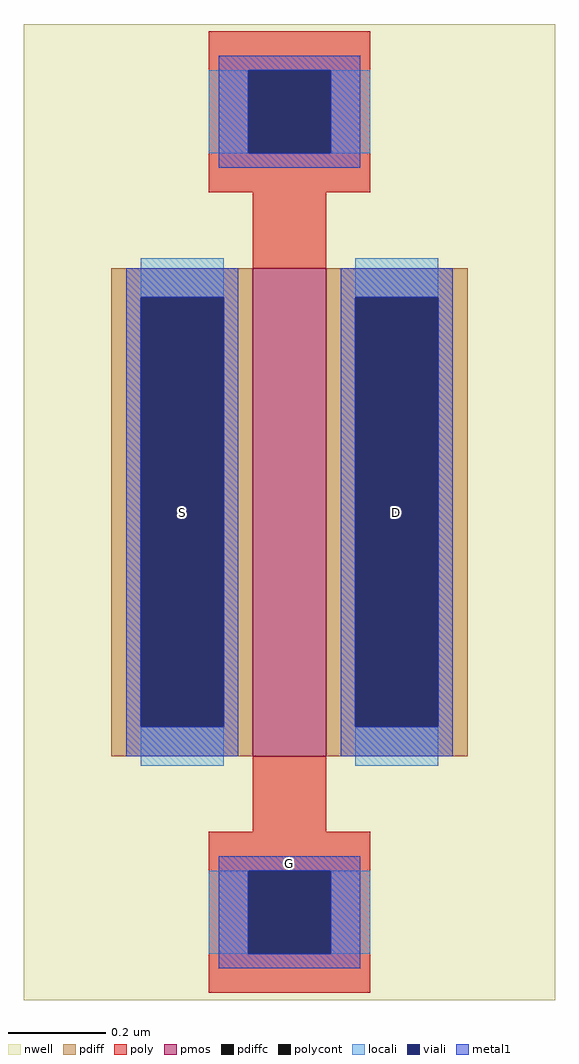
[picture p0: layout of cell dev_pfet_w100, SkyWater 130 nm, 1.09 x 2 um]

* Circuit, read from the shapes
.subckt dev_pfet_w100 G S D
XM1 D G S n1 sky130_fd_pr__pfet_01v8 w=1 l=0.15
.ends

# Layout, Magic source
magic
tech sky130B
magscale 1 2
<< nwell >>
rect -109 -200 109 200
<< pmos >>
rect -15 -100 15 100
<< pdiff >>
rect -73 88 -15 100
rect -73 -88 -61 88
rect -27 -88 -15 88
rect -73 -100 -15 -88
rect 15 88 73 100
rect 15 -88 27 88
rect 61 -88 73 88
rect 15 -100 73 -88
<< pdiffc >>
rect -61 -88 -27 88
rect 27 -88 61 88
<< poly >>
rect -33 181 33 197
rect -33 147 -17 181
rect 17 147 33 181
rect -33 131 33 147
rect -15 100 15 131
rect -15 -131 15 -100
rect -33 -147 33 -131
rect -33 -181 -17 -147
rect 17 -181 33 -147
rect -33 -197 33 -181
<< polycont >>
rect -17 147 17 181
rect -17 -181 17 -147
<< locali >>
rect -33 147 -17 181
rect 17 147 33 181
rect -61 88 -27 104
rect -61 -104 -27 -88
rect 27 88 61 104
rect 27 -104 61 -88
rect -33 -181 -17 -147
rect 17 -181 33 -147
<< viali >>
rect -17 147 17 181
rect -61 -88 -27 88
rect 27 -88 61 88
rect -17 -181 17 -147
<< metal1 >>
rect -29 181 29 187
rect -29 147 -17 181
rect 17 147 29 181
rect -29 141 29 147
rect -67 88 -21 100
rect -67 -88 -61 88
rect -27 -88 -21 88
rect -67 -100 -21 -88
rect 21 88 67 100
rect 21 -88 27 88
rect 61 -88 67 88
rect 21 -100 67 -88
rect -29 -147 29 -141
rect -29 -181 -17 -147
rect 17 -181 29 -147
rect -29 -187 29 -181
<< labels >>
flabel metal1 s -29 -147 29 -141 0 FreeSans 16 0 0 0 G
port 0 nsew
flabel metal1 s -67 -50 -21 50 0 FreeSans 16 0 0 0 S
port 1 nsew
flabel metal1 s 21 -50 67 50 0 FreeSans 16 0 0 0 D
port 2 nsew
<< end >>
